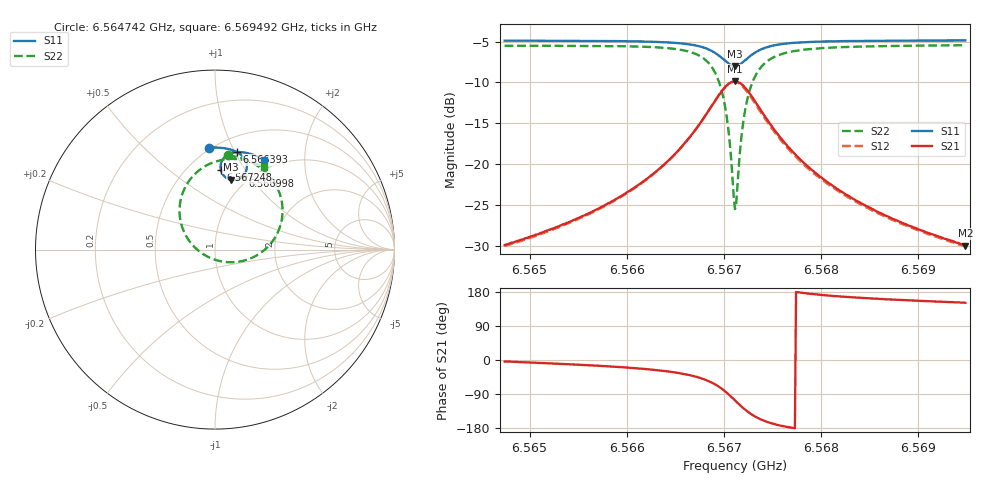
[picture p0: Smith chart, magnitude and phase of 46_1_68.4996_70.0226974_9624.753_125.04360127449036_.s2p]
#  HZ  S  RI  R  50.00
! Rohde & Schwarz Vector Network Analyzer
! Rohde-Schwarz,ZNB20-2Port,1311601062101988,3.16
! Created: UTC 3/20/2024, 4:50:38 PM
! freq[Hz]  re:S11  im:S11  re:S21  im:S21  re:S12  im:S12  re:S22  im:S22
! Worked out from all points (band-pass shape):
!   401 points, 6.564742 GHz to 6.569492 GHz, reference 50 ohm
!   highest |S21| = -9.86 dB at 6.567117 GHz (marker M1); lowest = -29.9 dB at 6.569492 GHz (marker M2)
!   |S21| within 3 dB of the highest: 6.566878 GHz to 6.567354 GHz (475.9 kHz wide, 0.00725 % of centre)
!   lowest |S11| = -8.0 dB at 6.567117 GHz (marker M3), VSWR 2.33, Z = 42.7 + j39.5 ohm
!   |S11| at or under -10 dB: nowhere
!   |S22| runs from -25.5 to -5.4 dB; largest |S21 - S12| = 0.017
!   S11 on the Smith chart (normalised r, x): 6.564742 GHz: 0.49, +0.82; 6.566393 GHz: 0.65, +1.02; 6.566998 GHz: 0.92, +0.93; 6.567248 GHz: 0.71, +0.78; 6.569492 GHz: 0.87, +1.29
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6.5647422e9  -0.0317 0.5686  0.032 -0.00221  0.0316 -0.00274  0.0724 0.5246
6.5655377e9  0.0356 0.5669  0.0469 -0.0108  0.0461 -0.0113  0.1542 0.5064
6.5659771e9  0.0768 0.56  0.0621 -0.0219  0.0611 -0.0227  0.2122 0.4817
6.5663333e9  0.1151 0.5469  0.0831 -0.043  0.0819 -0.0441  0.2753 0.4383
6.5663926e9  0.1223 0.5434  0.0878 -0.0488  0.0866 -0.0501  0.2881 0.4264
6.5666301e9  0.153 0.5204  0.1101 -0.0888  0.1085 -0.0907  0.345 0.3483
6.5668082e9  0.1744 0.483  0.1215 -0.1546  0.1184 -0.1583  0.3764 0.221
6.5669151e9  0.1753 0.4446  0.1049 -0.2221  0.0984 -0.2269  0.3481 0.0919
6.5669982e9  0.1561 0.4091  0.0541 -0.2829  0.0428 -0.2863  0.2519 -0.0201
6.5670457e9  0.133 0.3931  0.00311 -0.3082  -0.011 -0.3086  0.1564 -0.0627
6.5670932e9  0.1028 0.387  -0.0596 -0.3142  -0.075 -0.3095  0.0419 -0.0668
6.5671169e9  0.0869 0.389  -0.0918 -0.308  -0.1067 -0.3004  -0.0153 -0.0511
6.5671407e9  0.0719 0.3944  -0.1222 -0.2954  -0.1359 -0.2854  -0.0675 -0.0241
6.5671763e9  0.053 0.4078  -0.1609 -0.2669  -0.1712 -0.2542  -0.1307 0.032
6.5672001e9  0.0434 0.4192  -0.1802 -0.2438  -0.1881 -0.23  -0.1611 0.0758
6.5672476e9  0.0327 0.4442  -0.2034 -0.1945  -0.2069 -0.1803  -0.1935 0.1659
6.5673426e9  0.0358 0.4876  -0.2052 -0.1104  -0.203 -0.0998  -0.1812 0.3123
6.567485e9  0.063 0.5236  -0.1694 -0.0409  -0.1656 -0.0351  -0.104 0.4286
6.5676631e9  0.0969 0.5398  -0.1282 -0.00651  -0.125 -0.00355  -0.0177 0.4831
6.5679125e9  0.1337 0.544  -0.0916 0.00936  -0.0893 0.0109  0.0636 0.5034
6.568708e9  0.2137 0.5276  -0.0447 0.0162  -0.0436 0.0167  0.1973 0.4898
6.5694917e9  0.2744 0.5008  -0.0279 0.0155  -0.0275 0.0157  0.2736 0.4585
